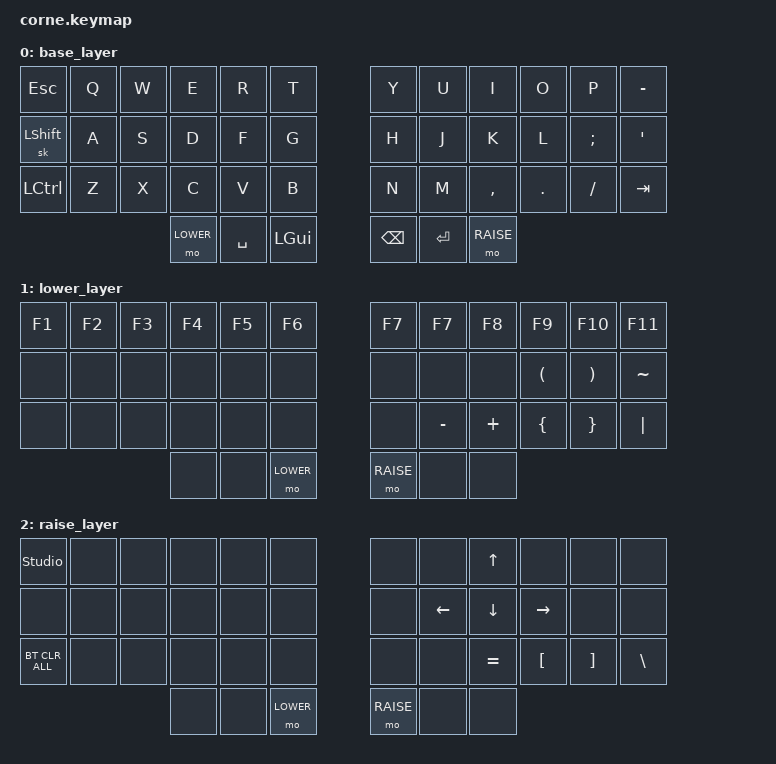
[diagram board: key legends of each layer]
/*
 * Copyright (c) 2021 The ZMK Contributors
 *
 * SPDX-License-Identifier: MIT
 */

#define DEFAULT 0
#define LOWER 1
#define RAISE 2

#include <behaviors.dtsi>
#include <dt-bindings/zmk/keys.h>
#include <dt-bindings/zmk/bt.h>

/ {

    keymap {
        compatible = "zmk,keymap";

        // This is a sample keymap intended to be replaced with your own
        base_layer {
            bindings = <
            // ------------------------------------------------------------------------------------------------------------
            // |  ESC  |  Q  |  W  |  E   |  R   |  T   |                   |  Y   |  U    |  I    |  O   |   P   |   -   |
            // | SHIFT |  A  |  S  |  D   |  F   |  G   |                   |  H   |  J    |  K    |  L   |   ;   |   '   |
            // |  CTRL |  Z  |  X  |  C   |  V   |  B   |                   |  N   |  M    |  ,    |  .   |   /   | TAB |
            //                     | LOWER| SPACE| GUI  |                   | DEL   | ENTER | RAISE|
                &kp ESC    &kp Q      &kp W      &kp E      &kp R       &kp T                &kp Y      &kp U      &kp I      &kp O      &kp P      &kp MINUS
                &sk LSHIFT &kp A      &kp S      &kp D      &kp F       &kp G                &kp H      &kp J      &kp K      &kp L      &kp SEMI   &kp SQT
                &kp LCTRL  &kp Z      &kp X      &kp C      &kp V       &kp B                &kp N      &kp M      &kp COMMA  &kp DOT    &kp FSLH   &kp TAB
                                                 &mo LOWER  &kp SPACE   &kp LGUI             &kp BSPC   &kp ENTER  &mo RAISE
            >;
        };           

        lower_layer {
            // ------------------------------------------------------------------------------------------------------------
            // |  F1   |  F2 |  F3 |  F4  |  F5  |  F6  |                   |  F7  |  F8   |  F9   |  F10 |  F11  |  F12  |
            // |   `   |  !  |  @  |  #   |  $   |  %   |                   |  ^   |  &    |  *    |  (   |   )   |   ~   |
            // |       |     |     |      |      |      |                   |      |  -    |  +    |  {   |   }   |  "|"  |
            //               |     |      |      | LOWER|                   | RAISE|       |       |      |
            bindings = <
                &kp F1     &kp F2     &kp F3     &kp F4     &kp F5      &kp F6               &kp F7     &kp F7     &kp F8     &kp F9     &kp F10    &kp F11
                &none      &none      &none      &none      &none       &none                &none      &none      &none      &kp LPAR   &kp RPAR   &kp TILDE
                &none      &none      &none      &none      &none       &none                &none      &kp MINUS  &kp PLUS   &kp LBRC   &kp RBRC   &kp PIPE
                                                 &none      &none       &mo LOWER            &mo RAISE  &none      &none  
            >;

        };

        raise_layer {
            // ------------------------------------------------------------------------------------------------------------
            // | studio|     |     |      |      |      |                   |      |       |   ^   |      |       |       |
            // |       |     |     |      |      |      |                   |      |   <-  |   v   |  ->  |       |       |
            // |BT CLR |     |     |      |      |      |        |  |       |      |       |   =   |  [   |   ]   |   \   |
            //               |     |      |      | LOWER|                   | RAISE|       |       |      |
            bindings = <
                &studio_unlock      &none      &none      &none      &none       &none                &none      &none      &kp UP     &none      &none      &none 
                &none      &none      &none      &none      &none       &none                &none      &kp LEFT   &kp DOWN   &kp RIGHT  &none      &none 
                &bt BT_CLR_ALL   &none   &none      &none      &none       &none                &none      &none      &kp EQUAL  &kp LBKT   &kp RBKT   &kp BSLH
                                            &none      &none       &mo LOWER            &mo RAISE  &none      &none       
            >;

        };

    };
};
